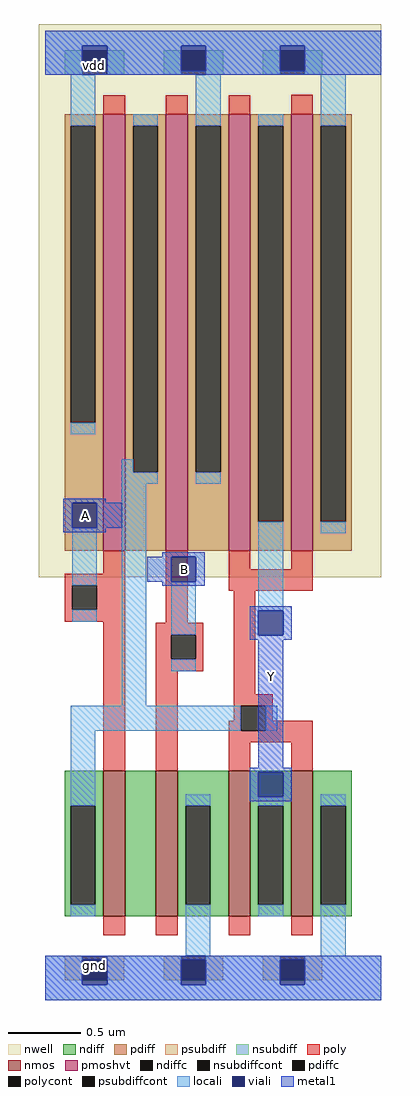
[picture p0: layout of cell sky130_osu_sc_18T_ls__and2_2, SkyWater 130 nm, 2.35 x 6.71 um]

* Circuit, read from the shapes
.subckt sky130_osu_sc_18T_ls__and2_2 B A Y
XM1 n1 A n2 gnd sky130_fd_pr__nfet_01v8 w=1 l=0.15
XM2 gnd B n1 gnd sky130_fd_pr__nfet_01v8 w=1 l=0.15
XM3 Y n2 gnd gnd sky130_fd_pr__nfet_01v8 w=1 l=0.15 m=2
XM4 n2 A vdd vdd sky130_fd_pr__pfet_01v8_hvt w=3 l=0.15
XM5 vdd B n2 vdd sky130_fd_pr__pfet_01v8_hvt w=3 l=0.15
XM6 Y n2 vdd vdd sky130_fd_pr__pfet_01v8_hvt w=3 l=0.15 m=2
.ends

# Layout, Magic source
magic
tech sky130A
magscale 1 2
<< nwell >>
rect -9 581 462 1341
<< nmos >>
rect 80 115 110 315
rect 152 115 182 315
rect 252 115 282 315
rect 338 115 368 315
<< pmoshvt >>
rect 80 617 110 1217
rect 166 617 196 1217
rect 252 617 282 1217
rect 338 617 368 1217
<< ndiff >>
rect 27 267 80 315
rect 27 131 35 267
rect 69 131 80 267
rect 27 115 80 131
rect 110 115 152 315
rect 182 267 252 315
rect 182 131 193 267
rect 227 131 252 267
rect 182 115 252 131
rect 282 267 338 315
rect 282 131 293 267
rect 327 131 338 267
rect 282 115 338 131
rect 368 267 421 315
rect 368 131 379 267
rect 413 131 421 267
rect 368 115 421 131
<< pdiff >>
rect 27 1201 80 1217
rect 27 793 35 1201
rect 69 793 80 1201
rect 27 617 80 793
rect 110 1201 166 1217
rect 110 725 121 1201
rect 155 725 166 1201
rect 110 617 166 725
rect 196 1201 252 1217
rect 196 725 207 1201
rect 241 725 252 1201
rect 196 617 252 725
rect 282 1201 338 1217
rect 282 657 293 1201
rect 327 657 338 1201
rect 282 617 338 657
rect 368 1201 421 1217
rect 368 657 379 1201
rect 413 657 421 1201
rect 368 617 421 657
<< ndiffc >>
rect 35 131 69 267
rect 193 131 227 267
rect 293 131 327 267
rect 379 131 413 267
<< pdiffc >>
rect 35 793 69 1201
rect 121 725 155 1201
rect 207 725 241 1201
rect 293 657 327 1201
rect 379 657 413 1201
<< psubdiff >>
rect 27 27 51 61
rect 85 27 109 61
rect 163 27 187 61
rect 221 27 245 61
rect 299 27 323 61
rect 357 27 381 61
<< nsubdiff >>
rect 27 1271 51 1305
rect 85 1271 109 1305
rect 163 1271 187 1305
rect 221 1271 245 1305
rect 299 1271 323 1305
rect 357 1271 381 1305
<< psubdiffcont >>
rect 51 27 85 61
rect 187 27 221 61
rect 323 27 357 61
<< nsubdiffcont >>
rect 51 1271 85 1305
rect 187 1271 221 1305
rect 323 1271 357 1305
<< poly >>
rect 80 1217 110 1243
rect 166 1217 196 1243
rect 252 1217 282 1243
rect 338 1217 368 1244
rect 80 586 110 617
rect 27 570 110 586
rect 27 536 37 570
rect 71 536 110 570
rect 27 520 110 536
rect 80 315 110 520
rect 166 518 196 617
rect 252 592 282 617
rect 338 592 368 617
rect 252 562 368 592
rect 152 502 217 518
rect 152 468 173 502
rect 207 468 217 502
rect 152 452 217 468
rect 152 315 182 452
rect 259 420 289 562
rect 259 404 313 420
rect 259 384 269 404
rect 252 370 269 384
rect 303 384 313 404
rect 303 370 368 384
rect 252 354 368 370
rect 252 315 282 354
rect 338 315 368 354
rect 80 89 110 115
rect 152 89 182 115
rect 252 89 282 115
rect 338 89 368 115
<< polycont >>
rect 37 536 71 570
rect 173 468 207 502
rect 269 370 303 404
<< locali >>
rect 0 1311 462 1332
rect 0 1271 51 1311
rect 85 1271 187 1311
rect 221 1271 323 1311
rect 357 1271 462 1311
rect 35 1201 69 1271
rect 35 777 69 793
rect 121 1201 155 1217
rect 105 725 121 743
rect 105 709 155 725
rect 207 1201 241 1271
rect 207 709 241 725
rect 293 1201 327 1217
rect 37 570 71 649
rect 37 520 71 536
rect 105 404 139 709
rect 173 502 207 575
rect 293 535 327 657
rect 379 1201 413 1271
rect 379 641 413 657
rect 173 452 207 468
rect 35 370 269 404
rect 303 370 319 404
rect 35 267 69 370
rect 35 115 69 131
rect 193 267 227 283
rect 193 61 227 131
rect 293 267 327 279
rect 293 115 327 131
rect 379 267 413 283
rect 379 61 413 131
rect 0 21 51 61
rect 85 21 187 61
rect 221 21 323 61
rect 357 21 462 61
rect 0 0 462 21
<< viali >>
rect 51 1305 85 1311
rect 51 1277 85 1305
rect 187 1305 221 1311
rect 187 1277 221 1305
rect 323 1305 357 1311
rect 323 1277 357 1305
rect 37 649 71 683
rect 173 575 207 609
rect 293 501 327 535
rect 293 279 327 313
rect 51 27 85 55
rect 51 21 85 27
rect 187 27 221 55
rect 187 21 221 27
rect 323 27 357 55
rect 323 21 357 27
<< metal1 >>
rect 0 1311 462 1332
rect 0 1277 51 1311
rect 85 1277 187 1311
rect 221 1277 323 1311
rect 357 1277 462 1311
rect 0 1271 462 1277
rect 25 683 83 689
rect 25 649 37 683
rect 71 649 105 683
rect 25 643 83 649
rect 161 609 219 615
rect 140 575 173 609
rect 207 575 219 609
rect 161 569 219 575
rect 281 535 339 541
rect 281 501 293 535
rect 327 501 339 535
rect 281 495 339 501
rect 293 319 327 495
rect 281 313 339 319
rect 281 279 293 313
rect 327 279 339 313
rect 281 273 339 279
rect 0 55 462 61
rect 0 21 51 55
rect 85 21 187 55
rect 221 21 323 55
rect 357 21 462 55
rect 0 0 462 21
<< labels >>
rlabel metal1 191 592 191 592 1 B
port 1 n
rlabel metal1 55 666 55 666 1 A
port 2 n
rlabel metal1 311 444 311 444 1 Y
port 3 n
rlabel viali 68 48 68 48 1 gnd
rlabel viali 68 1284 68 1284 1 vdd
<< end >>
